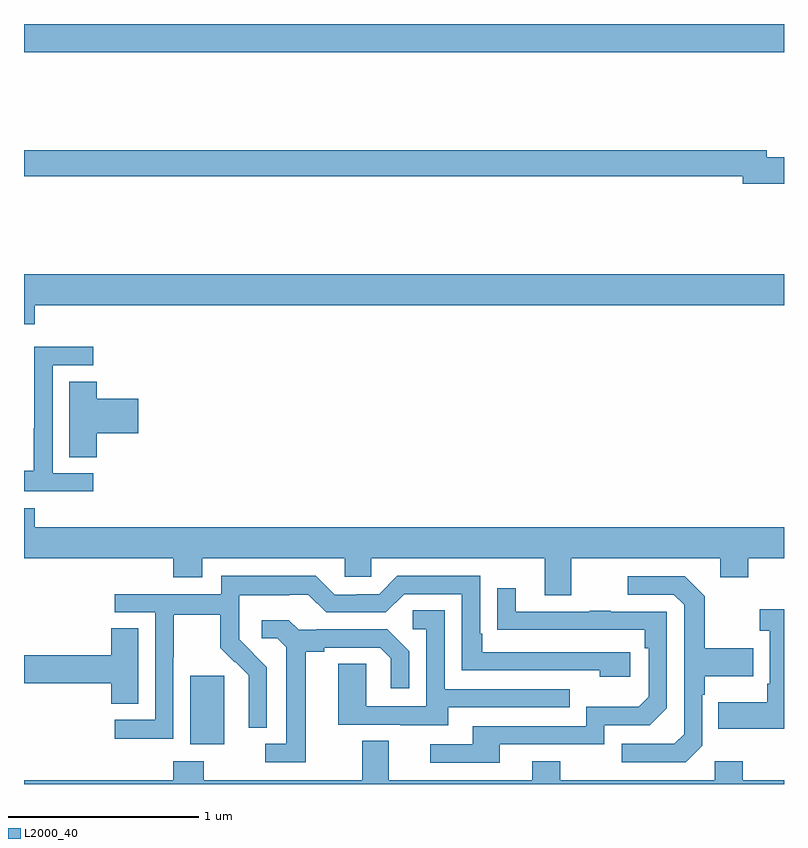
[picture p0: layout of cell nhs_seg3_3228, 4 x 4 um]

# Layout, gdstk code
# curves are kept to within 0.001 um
import gdstk
lib = gdstk.Library(unit=1e-6, precision=1e-09)
def R(c, l, rs):  # rectangles x0, y0, x1, y1
    for r in rs: c.add(gdstk.rectangle(r[:2], r[2:], *l))
def P(c, l, *ps):  # polygons
    for p in ps: c.add(gdstk.Polygon(p, *l))
L2000_40 = (2000, 40)

nhs_seg3_3228 = lib.new_cell('nhs_seg3_3228')
R(nhs_seg3_3228, L2000_40, [(279.875,694.61,280.054,694.971), (279,698.252,283,698.4)])
P(nhs_seg3_3228, L2000_40, [(283,697.7),(282.91,697.7),(282.91,697.736),(279,697.736),(279,697.6),(282.782,697.6),(282.782,697.558),(283,697.558)],
  [(279.056,696.92),(283,696.92),(283,697.084),(279,697.084),(279,696.821),(279.056,696.821)],
  [(279.364,696.036),(279.15,696.036),(279.15,696.603),(279.364,696.603),(279.364,696.702),(279.054,696.702),(279.054,696.272),(279.052,696.272),(279.052,696.049),(279,696.049),(279,695.94),(279.364,695.94)],
  [(279.383,696.245),(279.601,696.245),(279.601,696.428),(279.383,696.428),(279.383,696.518),(279.239,696.518),(279.239,696.121),(279.383,696.121)],
  [(281.881,695.588),(282.665,695.588),(282.665,695.489),(282.813,695.489),(282.813,695.588),(283,695.588),(283,695.752),(279.056,695.752),(279.056,695.851),(279,695.851),(279,695.588),(279.785,695.588),(279.785,695.489),(279.937,695.489),(279.937,695.588),(280.689,695.588),(280.689,695.49),(280.827,695.49),(280.827,695.588),(281.741,695.588),(281.741,695.394),(281.881,695.394)],
  [(279.786,695.068),(279.789,695.068),(279.789,695.292),(280.033,695.292),(280.033,695.117),(280.11,695.04),(280.113,695.043),(280.184,694.973),(280.184,694.85),(280.182,694.85),(280.182,694.696),(280.278,694.696),(280.278,695.014),(280.132,695.162),(280.132,695.259),(280.134,695.259),(280.134,695.393),(280.397,695.393),(280.397,695.397),(280.497,695.397),(280.59,695.304),(280.905,695.304),(281.001,695.4),(281.304,695.4),(281.304,694.998),(282.029,694.998),(282.029,694.964),(282.19,694.964),(282.19,695.094),(281.413,695.094),(281.413,695.191),(281.4,695.191),(281.4,695.496),(280.965,695.496),(280.869,695.4),(280.751,695.4),(280.751,695.397),(280.635,695.397),(280.535,695.497),(280.038,695.497),(280.038,695.4),(279.477,695.4),(279.477,695.304),(279.69,695.304),(279.69,694.737),(279.477,694.737),(279.477,694.639),(279.786,694.639)],
  [(282.57,694.602),(282.57,694.871),(282.583,694.871),(282.583,694.967),(282.839,694.967),(282.839,695.115),(282.583,695.115),(282.583,695.387),(282.477,695.493),(282.177,695.493),(282.177,695.397),(282.42,695.397),(282.474,695.343),(282.474,694.662),(282.423,694.611),(282.147,694.611),(282.147,694.515),(282.483,694.515)],
  [(281.503,694.608),(282.054,694.608),(282.054,694.71),(282.294,694.71),(282.384,694.8),(282.384,695.307),(282.089,695.307),(282.089,695.312),(281.977,695.312),(281.977,695.307),(281.587,695.307),(281.587,695.431),(281.491,695.431),(281.491,695.212),(282.268,695.211),(282.268,695.114),(282.288,695.114),(282.288,694.86),(282.235,694.807),(281.958,694.807),(281.958,694.704),(281.363,694.704),(281.363,694.608),(281.139,694.608),(281.139,694.512),(281.503,694.512)],
  [(283,695.32),(282.873,695.32),(282.873,695.207),(282.924,695.207),(282.924,694.927),(282.912,694.927),(282.912,694.831),(282.655,694.831),(282.655,694.691),(283,694.691)],
  [(281.233,694.803),(281.873,694.803),(281.873,694.899),(281.214,694.899),(281.214,695.315),(281.046,695.315),(281.046,695.214),(281.118,695.214),(281.118,694.809),(280.8,694.809),(280.8,695.033),(280.655,695.033),(280.655,694.713),(280.979,694.713),(280.979,694.709),(281.233,694.709)],
  [(280.483,695.096),(280.579,695.096),(280.579,695.118),(280.874,695.118),(280.931,695.061),(280.931,694.905),(281.028,694.905),(281.028,695.098),(280.912,695.214),(280.54,695.214),(280.54,695.211),(280.446,695.211),(280.394,695.263),(280.251,695.263),(280.251,695.166),(280.332,695.166),(280.379,695.119),(280.379,694.611),(280.269,694.611),(280.269,694.515),(280.483,694.515)],
  [(279.601,695.219),(279.458,695.219),(279.458,695.078),(279,695.078),(279,694.931),(279.458,694.931),(279.458,694.822),(279.601,694.822)],
  [(283,694.42),(282.783,694.42),(282.783,694.519),(282.636,694.519),(282.636,694.42),(281.823,694.42),(281.823,694.519),(281.675,694.519),(281.675,694.42),(280.921,694.42),(280.921,694.628),(280.781,694.628),(280.781,694.42),(279.945,694.42),(279.945,694.519),(279.785,694.519),(279.785,694.42),(279,694.42),(279,694.4),(283,694.4)])

lib.write_gds('nhs_seg3_3228.gds')
